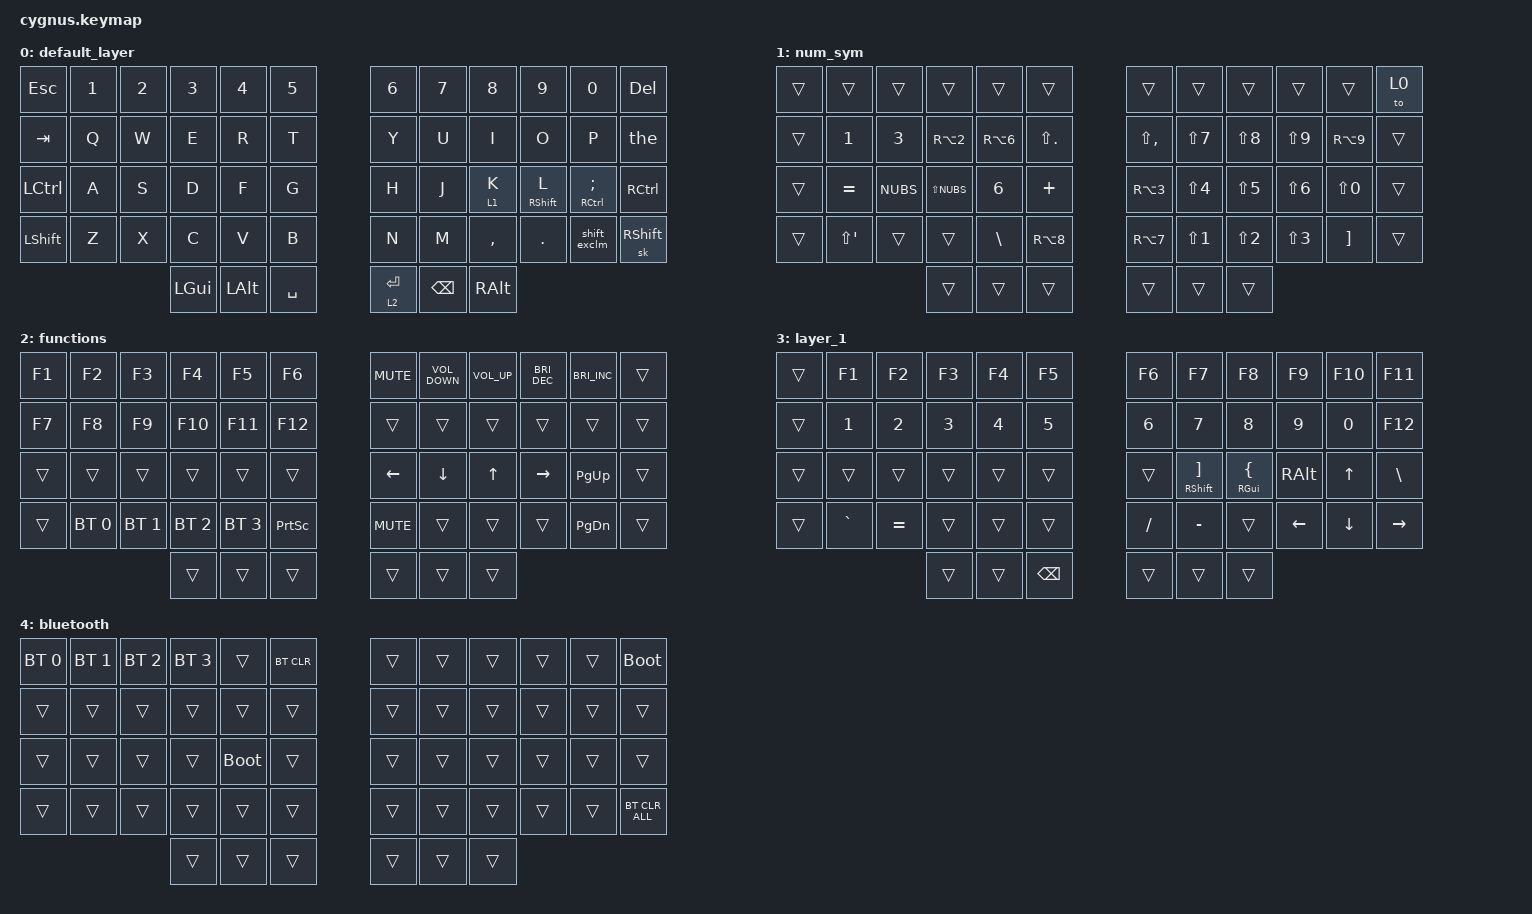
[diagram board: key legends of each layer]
#include <behaviors.dtsi>
#include <dt-bindings/zmk/bt.h>
#include <dt-bindings/zmk/keys.h>

/ {
    combos {
        compatible = "zmk,combos";

        bluetooth {
            bindings = <&mo 4>;
            key-positions = <41 36>;
        };

        bt2 {
            bindings = <&mo 4>;
            key-positions = <48 53>;
        };

        dot {
            bindings = <&kp LESS_THAN>;
            key-positions = <27 28>;
        };

        underscore {
            bindings = <&kp N8>;
            key-positions = <21 33>;
        };

        f5 {
            bindings = <&kp F5>;
            key-positions = <5 17>;
        };

        lbraces {
            bindings = <&lbraces>;
            key-positions = <19 31>;
        };

        rbraces {
            bindings = <&rbraces>;
            key-positions = <20 32>;
        };

        at {
            bindings = <&kp RA(N0)>;
            key-positions = <18 30>;
        };

        syms_l {
            bindings = <&mo 1>;
            key-positions = <38 39>;
        };

        e_acue {
            bindings = <&kp N2>;
            key-positions = <15 32>;
        };

        c_ced {
            bindings = <&kp N9>;
            key-positions = <39 32>;
        };

        circ {
            bindings = <&kp LBKT>;
            key-positions = <31 32>;
        };

        e_grv {
            bindings = <&kp N7>;
            key-positions = <33 15>;
        };

        a_grv {
            bindings = <&kp N0>;
            key-positions = <33 13>;
        };

        u_grv {
            bindings = <&kp SINGLE_QUOTE>;
            key-positions = <33 19>;
        };

        diae {
            bindings = <&kp LS(LBKT)>;
            key-positions = <31 33>;
        };

        syms_r {
            bindings = <&to 1>;
            key-positions = <10 11>;
        };

        insert {
            bindings = <&kp INSERT>;
            key-positions = <6 7>;
        };
    };

    behaviors {
        hml: hml {
            compatible = "zmk,behavior-hold-tap";
            label = "HOME_ROW_LEFT";
            bindings = <&kp>, <&kp>;

            #binding-cells = <2>;
            hold-trigger-key-positions = <6 7 8 9 10 11 18 19 20 21 22 23 30 31 32 33 34 35 42 43 44 45 46 47>;
            tapping-term-ms = <180>;
            quick-tap-ms = <175>;
            require-prior-idle-ms = <150>;
            flavor = "balanced";
            hold-trigger-on-release;
        };

        hmr: hmr {
            compatible = "zmk,behavior-hold-tap";
            label = "HOME_ROW_RIGHT";
            bindings = <&kp>, <&kp>;

            #binding-cells = <2>;
            tapping-term-ms = <180>;
            quick-tap-ms = <175>;
            require-prior-idle-ms = <150>;
            flavor = "balanced";
            hold-trigger-key-positions = <0 1 2 3 4 5 12 13 14 15 16 17 24 25 26 27 28 29 36 37 38 39 40 41>;
            hold-trigger-on-release;
        };

        shift_exclm: shift_exclm {
            compatible = "zmk,behavior-mod-morph";
            label = "SHIFT_EXCLM";
            bindings = <&kp N4>, <&kp SLASH>;

            #binding-cells = <0>;
            mods = <(MOD_LSFT|MOD_RSFT)>;
        };

        lbraces: lbraces {
            compatible = "zmk,behavior-mod-morph";
            label = "LBRACES";
            bindings = <&mt RA(N5) N5>, <&kp RA(N4)>;

            #binding-cells = <0>;
            mods = <(MOD_LSFT|MOD_RSFT)>;
        };

        rbraces: rbraces {
            compatible = "zmk,behavior-mod-morph";
            label = "RBRACES";
            bindings = <&mt RA(MINUS) MINUS>, <&kp RA(EQUAL)>;

            #binding-cells = <0>;
            mods = <(MOD_LSFT|MOD_RSFT)>;
        };
    };

    macros {
        the: the {
            compatible = "zmk,behavior-macro";
            #binding-cells = <0>;
            bindings = <&kp T &kp H &kp E>;
            label = "THE";
        };
    };

    keymap {
        compatible = "zmk,keymap";

        default_layer {
            // -----------------------------------------------------------------------------------------
            // |  ESC |  1  |  2  |  3  |  4  |  5  |   |  6  |  7   |  8  |  9  |  0  |  ?   |
            // |  TAB |  Q  |  W  |  E  |  R  |  T  |   |  Y  |  U   |  I  |  O  |  P  | BKSP |
            // | CTRL |  A  |  S  |  D  |  F  |  G  |   |  H  |  J   |  K  |  L  |  ;  |  '   |
            // | SHFT |  Z  |  X  |  C  |  V  |  B  |   |  N  |  M   |  ,  |  .  |  /  | ESC  |
            //                    | GUI | LWR | SPC |   | ENT | RSE  | ALT |

            bindings = <
&kp ESCAPE  &kp N1  &kp N2  &kp N3        &kp N4        &kp N5       &kp N6       &kp N7         &kp N8         &kp N9       &kp N0          &kp DELETE
&kp TAB     &kp Q   &kp W   &kp E         &kp R         &kp T        &kp Y        &kp U          &kp I          &kp O        &kp P           &the
&kp LCTRL   &kp A   &kp S   &kp D         &kp F         &kp G        &kp H        &kp J          &lt 1 K        &mt RSHFT L  &mt RCTRL SEMI  &kp RIGHT_CONTROL
&kp LSHFT   &kp Z   &kp X   &kp C         &kp V         &kp B        &kp N        &kp M          &kp COMMA      &kp DOT      &shift_exclm    &sk RIGHT_SHIFT
                            &kp LEFT_GUI  &kp LEFT_ALT  &kp SPACE    &lt 2 ENTER  &kp BACKSPACE  &kp RIGHT_ALT
            >;
        };

        num_sym {
            bindings = <
&trans  &trans                &trans    &trans        &trans         &trans         &trans         &trans      &trans      &trans      &trans             &to 0
&trans  &kp N1                &kp N3    &kp RA(N2)    &kp RA(N6)     &kp LS(DOT)    &kp LS(COMMA)  &kp LS(N7)  &kp LS(N8)  &kp LS(N9)  &kp RA(N9)         &trans
&trans  &kp EQUAL             &kp NUBS  &kp LS(NUBS)  &kp N6         &kp PLUS       &kp RA(N3)     &kp LS(N4)  &kp LS(N5)  &kp LS(N6)  &kp LS(N0)         &trans
&trans  &kp LS(SINGLE_QUOTE)  &trans    &trans        &kp BACKSLASH  &kp RA(N8)     &kp RA(N7)     &kp LS(N1)  &kp LS(N2)  &kp LS(N3)  &kp RIGHT_BRACKET  &trans
                                        &trans        &trans         &trans         &trans         &trans      &trans
            >;
        };

        functions {
            bindings = <
&kp F1  &kp F2        &kp F3        &kp F4        &kp F5        &kp F6             &kp C_MUTE      &kp C_VOLUME_DOWN  &kp C_VOLUME_UP  &kp C_BRI_DEC  &kp C_BRIGHTNESS_INC  &trans
&kp F7  &kp F8        &kp F9        &kp F10       &kp F11       &kp F12            &trans          &trans             &trans           &trans         &trans                &trans
&trans  &trans        &trans        &trans        &trans        &trans             &kp LEFT_ARROW  &kp DOWN_ARROW     &kp UP_ARROW     &kp RIGHT      &kp PAGE_UP           &trans
&trans  &bt BT_SEL 0  &bt BT_SEL 1  &bt BT_SEL 2  &bt BT_SEL 3  &kp PRINTSCREEN    &kp C_MUTE      &trans             &trans           &trans         &kp PAGE_DOWN         &trans
                                    &trans        &trans        &trans             &trans          &trans             &trans
            >;
        };

        layer_1 {
            // -----------------------------------------------------------------------------------------
            // |  TAB |  F1 |  F2 |  F3 |  F4 |  F5 |   |  F6 |  F7 |  F8 |  F9 | F10 | BKSP |
            // |  TAB |  1  |  2  |  3  |  4  |  5  |   |  6  |  7  |  8  |  9  |  0  | BKSP |
            // | BTCLR| BT1 | BT2 | BT3 | BT4 | BT5 |   | LFT | DWN |  UP | RGT |     |      |
            // | SHFT |     |     |     |     |     |   |     |     |     |     |     |      |
            //                    | GUI |     | SPC |   | ENT |     | ALT |

            bindings = <
&trans  &kp F1        &kp F2        &kp F3        &kp F4        &kp F5           &kp F6     &kp F7                          &kp F8                     &kp F9         &kp F10       &kp F11
&trans  &kp NUMBER_1  &kp NUMBER_2  &kp NUMBER_3  &kp NUMBER_4  &kp N5           &kp N6     &kp N7                          &kp N8                     &kp N9         &kp N0        &kp F12
&trans  &trans        &trans        &trans        &trans        &trans           &trans     &hmr RIGHT_SHIFT RIGHT_BRACKET  &hmr RIGHT_GUI LEFT_BRACE  &kp RIGHT_ALT  &kp UP_ARROW  &kp BSLH
&trans  &kp GRAVE     &kp EQUAL     &trans        &trans        &trans           &kp SLASH  &kp MINUS                       &trans                     &kp LEFT       &kp DOWN      &kp RIGHT
                                    &trans        &trans        &kp BACKSPACE    &trans     &trans                          &trans
            >;
        };

        bluetooth {
            bindings = <
&bt BT_SEL 0  &bt BT_SEL 1  &bt BT_SEL 2  &bt BT_SEL 3  &trans       &bt BT_CLR    &trans  &trans  &trans  &trans  &trans  &bootloader
&trans        &trans        &trans        &trans        &trans       &trans        &trans  &trans  &trans  &trans  &trans  &trans
&trans        &trans        &trans        &trans        &bootloader  &trans        &trans  &trans  &trans  &trans  &trans  &trans
&trans        &trans        &trans        &trans        &trans       &trans        &trans  &trans  &trans  &trans  &trans  &bt BT_CLR_ALL
                                          &trans        &trans       &trans        &trans  &trans  &trans
            >;
        };
    };
};
